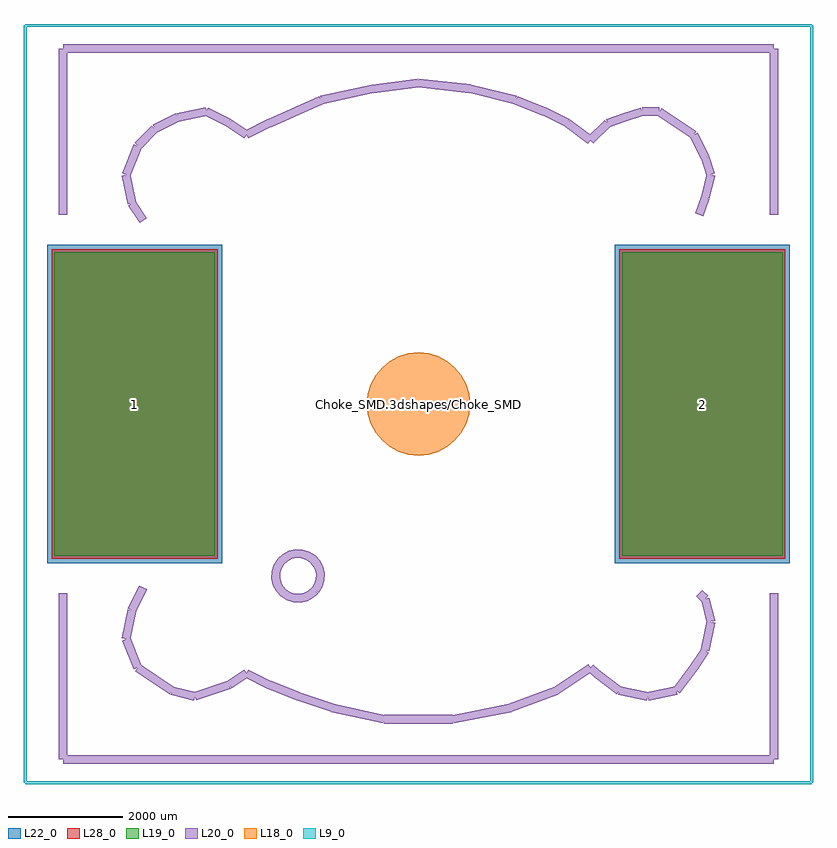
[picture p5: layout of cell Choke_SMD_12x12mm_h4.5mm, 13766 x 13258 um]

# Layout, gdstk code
import gdstk
lib = gdstk.Library(unit=1e-6, precision=1e-09)
def R(c, l, rs):  # rectangles x0, y0, x1, y1
    for r in rs: c.add(gdstk.rectangle(r[:2], r[2:], *l))
def P(c, l, *ps):  # polygons
    for p in ps: c.add(gdstk.Polygon(p, *l))
L9_0 = (9, 0)
L18_0 = (18, 0)
L19_0 = (19, 0)
L20_0 = (20, 0)
L22_0 = (22, 0)
L28_0 = (28, 0)

choke_smd_12x12mm_h4_5mm = lib.new_cell('Choke_SMD_12x12mm_h4.5mm')
P(choke_smd_12x12mm_h4_5mm, L18_0, [(211.934,0),(207.862,41.346),(195.801,81.104),(176.217,117.744),(149.86,149.86),(117.744,176.217),(81.104,195.801),(41.346,207.862),(0,211.934),(-41.346,207.862),(-81.104,195.801),(-117.744,176.217),(-149.86,149.86),(-176.217,117.744),(-195.801,81.104),(-207.862,41.346),(-211.934,0),(-207.862,-41.346),(-195.801,-81.104),(-176.217,-117.744),(-149.86,-149.86),(-117.744,-176.217),(-81.104,-195.801),(-41.346,-207.862),(0,-211.934),(41.346,-207.862),(81.104,-195.801),(117.744,-176.217),(149.86,-149.86),(176.217,-117.744),(195.801,-81.104),(207.862,-41.346)],
  [(551.18,0),(540.589,107.53),(509.224,210.927),(458.289,306.219),(389.743,389.743),(306.219,458.289),(210.927,509.224),(107.53,540.589),(0,551.18),(-107.53,540.589),(-210.927,509.224),(-306.219,458.289),(-389.743,389.743),(-458.289,306.219),(-509.224,210.927),(-540.589,107.53),(-551.18,0),(-540.589,-107.53),(-509.224,-210.927),(-458.289,-306.219),(-389.743,-389.743),(-306.219,-458.289),(-210.927,-509.224),(-107.53,-540.589),(0,-551.18),(107.53,-540.589),(210.927,-509.224),(306.219,-458.289),(389.743,-389.743),(458.289,-306.219),(509.224,-210.927),(540.589,-107.53)],
  [(899.16,0),(881.883,175.417),(830.716,344.094),(747.624,499.547),(635.802,635.802),(499.547,747.624),(344.094,830.716),(175.417,881.883),(0,899.16),(-175.417,881.883),(-344.094,830.716),(-499.547,747.624),(-635.802,635.802),(-747.624,499.547),(-830.716,344.094),(-881.883,175.417),(-899.16,0),(-881.883,-175.417),(-830.716,-344.094),(-747.624,-499.547),(-635.802,-635.802),(-499.547,-747.624),(-344.094,-830.716),(-175.417,-881.883),(0,-899.16),(175.417,-881.883),(344.094,-830.716),(499.547,-747.624),(635.802,-635.802),(747.624,-499.547),(830.716,-344.094),(881.883,-175.417)])
R(choke_smd_12x12mm_h4_5mm, L19_0, [(-6350.8,-2650.02,-3550.12,2650.02), (3550.12,-2650.02,6350.8,2650.02)])
R(choke_smd_12x12mm_h4_5mm, L22_0, [(-6475.8,-2775.02,-3425.12,2775.02), (3425.12,-2775.02,6475.8,2775.02)])
R(choke_smd_12x12mm_h4_5mm, L28_0, [(-6400.8,-2700.02,-3500.12,2700.02), (3500.12,-2700.02,6400.8,2700.02)])
choke_smd_12x12mm_h4_5mm.add(gdstk.FlexPath([(6200.14,6200.14),(6200.14,3299.46)], 149.998, ends="flush", simple_path=True, layer=20, datatype=0))  # L20_0
choke_smd_12x12mm_h4_5mm.add(gdstk.FlexPath([(-6200.14,6200.14),(-6200.14,3299.46)], 149.998, ends="flush", simple_path=True, layer=20, datatype=0))  # L20_0
choke_smd_12x12mm_h4_5mm.add(gdstk.FlexPath([(6200.14,6200.14),(-6200.14,6200.14)], 149.998, ends="flush", simple_path=True, layer=20, datatype=0))  # L20_0
choke_smd_12x12mm_h4_5mm.add(gdstk.FlexPath([(6200.14,-6200.14),(6200.14,-3299.46)], 149.998, ends="flush", simple_path=True, layer=20, datatype=0))  # L20_0
choke_smd_12x12mm_h4_5mm.add(gdstk.FlexPath([(-6200.14,-6200.14),(6200.14,-6200.14)], 149.998, ends="flush", simple_path=True, layer=20, datatype=0))  # L20_0
choke_smd_12x12mm_h4_5mm.add(gdstk.FlexPath([(-6200.14,-3299.46),(-6200.14,-6200.14)], 149.998, ends="flush", simple_path=True, layer=20, datatype=0))  # L20_0
choke_smd_12x12mm_h4_5mm.add(gdstk.FlexPath([(-5001.26,3500.12),(-4800.6,3200.4)], 149.998, ends="flush", simple_path=True, layer=20, datatype=0))  # L20_0
choke_smd_12x12mm_h4_5mm.add(gdstk.FlexPath([(-5100.32,4000.5),(-5001.26,3500.12)], 149.998, ends="flush", simple_path=True, layer=20, datatype=0))  # L20_0
choke_smd_12x12mm_h4_5mm.add(gdstk.FlexPath([(-4899.66,4500.88),(-5100.32,4000.5)], 149.998, ends="flush", simple_path=True, layer=20, datatype=0))  # L20_0
choke_smd_12x12mm_h4_5mm.add(gdstk.FlexPath([(-4599.94,4800.6),(-4899.66,4500.88)], 149.998, ends="flush", simple_path=True, layer=20, datatype=0))  # L20_0
choke_smd_12x12mm_h4_5mm.add(gdstk.FlexPath([(-4201.16,5001.26),(-4599.94,4800.6)], 149.998, ends="flush", simple_path=True, layer=20, datatype=0))  # L20_0
choke_smd_12x12mm_h4_5mm.add(gdstk.FlexPath([(-3700.78,5100.32),(-4201.16,5001.26)], 149.998, ends="flush", simple_path=True, layer=20, datatype=0))  # L20_0
choke_smd_12x12mm_h4_5mm.add(gdstk.FlexPath([(-3299.46,4899.66),(-3700.78,5100.32)], 149.998, ends="flush", simple_path=True, layer=20, datatype=0))  # L20_0
choke_smd_12x12mm_h4_5mm.add(gdstk.FlexPath([(-2999.74,4699),(-3299.46,4899.66)], 149.998, ends="flush", simple_path=True, layer=20, datatype=0))  # L20_0
choke_smd_12x12mm_h4_5mm.add(gdstk.FlexPath([(-2600.96,4899.66),(-2999.74,4699)], 149.998, ends="flush", simple_path=True, layer=20, datatype=0))  # L20_0
choke_smd_12x12mm_h4_5mm.add(gdstk.FlexPath([(-1699.26,5300.98),(-2600.96,4899.66)], 149.998, ends="flush", simple_path=True, layer=20, datatype=0))  # L20_0
choke_smd_12x12mm_h4_5mm.add(gdstk.FlexPath([(-800.1,5499.1),(-1699.26,5300.98)], 149.998, ends="flush", simple_path=True, layer=20, datatype=0))  # L20_0
choke_smd_12x12mm_h4_5mm.add(gdstk.FlexPath([(0,5600.7),(-800.1,5499.1)], 149.998, ends="flush", simple_path=True, layer=20, datatype=0))  # L20_0
choke_smd_12x12mm_h4_5mm.add(gdstk.FlexPath([(899.16,5499.1),(0,5600.7)], 149.998, ends="flush", simple_path=True, layer=20, datatype=0))  # L20_0
choke_smd_12x12mm_h4_5mm.add(gdstk.FlexPath([(1699.26,5300.98),(899.16,5499.1)], 149.998, ends="flush", simple_path=True, layer=20, datatype=0))  # L20_0
choke_smd_12x12mm_h4_5mm.add(gdstk.FlexPath([(2199.64,5100.32),(1699.26,5300.98)], 149.998, ends="flush", simple_path=True, layer=20, datatype=0))  # L20_0
choke_smd_12x12mm_h4_5mm.add(gdstk.FlexPath([(2600.96,4899.66),(2199.64,5100.32)], 149.998, ends="flush", simple_path=True, layer=20, datatype=0))  # L20_0
choke_smd_12x12mm_h4_5mm.add(gdstk.FlexPath([(2999.74,4599.94),(2600.96,4899.66)], 149.998, ends="flush", simple_path=True, layer=20, datatype=0))  # L20_0
choke_smd_12x12mm_h4_5mm.add(gdstk.FlexPath([(3299.46,4899.66),(2999.74,4599.94)], 149.998, ends="flush", simple_path=True, layer=20, datatype=0))  # L20_0
choke_smd_12x12mm_h4_5mm.add(gdstk.FlexPath([(3599.18,5001.26),(3299.46,4899.66)], 149.998, ends="flush", simple_path=True, layer=20, datatype=0))  # L20_0
choke_smd_12x12mm_h4_5mm.add(gdstk.FlexPath([(3898.9,5100.32),(3599.18,5001.26)], 149.998, ends="flush", simple_path=True, layer=20, datatype=0))  # L20_0
choke_smd_12x12mm_h4_5mm.add(gdstk.FlexPath([(4201.16,5100.32),(3898.9,5100.32)], 149.998, ends="flush", simple_path=True, layer=20, datatype=0))  # L20_0
choke_smd_12x12mm_h4_5mm.add(gdstk.FlexPath([(4500.88,4899.66),(4201.16,5100.32)], 149.998, ends="flush", simple_path=True, layer=20, datatype=0))  # L20_0
choke_smd_12x12mm_h4_5mm.add(gdstk.FlexPath([(4800.6,4699),(4500.88,4899.66)], 149.998, ends="flush", simple_path=True, layer=20, datatype=0))  # L20_0
choke_smd_12x12mm_h4_5mm.add(gdstk.FlexPath([(5001.26,4300.22),(4800.6,4699)], 149.998, ends="flush", simple_path=True, layer=20, datatype=0))  # L20_0
choke_smd_12x12mm_h4_5mm.add(gdstk.FlexPath([(5100.32,4000.5),(5001.26,4300.22)], 149.998, ends="flush", simple_path=True, layer=20, datatype=0))  # L20_0
choke_smd_12x12mm_h4_5mm.add(gdstk.FlexPath([(5001.26,3599.18),(5100.32,4000.5)], 149.998, ends="flush", simple_path=True, layer=20, datatype=0))  # L20_0
choke_smd_12x12mm_h4_5mm.add(gdstk.FlexPath([(4899.66,3299.46),(5001.26,3599.18)], 149.998, ends="flush", simple_path=True, layer=20, datatype=0))  # L20_0
choke_smd_12x12mm_h4_5mm.add(gdstk.FlexPath([(-5001.26,-3599.18),(-4800.6,-3200.4)], 149.998, ends="flush", simple_path=True, layer=20, datatype=0))  # L20_0
choke_smd_12x12mm_h4_5mm.add(gdstk.FlexPath([(-5100.32,-4099.56),(-5001.26,-3599.18)], 149.998, ends="flush", simple_path=True, layer=20, datatype=0))  # L20_0
choke_smd_12x12mm_h4_5mm.add(gdstk.FlexPath([(-4899.66,-4599.94),(-5100.32,-4099.56)], 149.998, ends="flush", simple_path=True, layer=20, datatype=0))  # L20_0
choke_smd_12x12mm_h4_5mm.add(gdstk.FlexPath([(-4599.94,-4800.6),(-4899.66,-4599.94)], 149.998, ends="flush", simple_path=True, layer=20, datatype=0))  # L20_0
choke_smd_12x12mm_h4_5mm.add(gdstk.FlexPath([(-4300.22,-5001.26),(-4599.94,-4800.6)], 149.998, ends="flush", simple_path=True, layer=20, datatype=0))  # L20_0
choke_smd_12x12mm_h4_5mm.add(gdstk.FlexPath([(-3898.9,-5100.32),(-4300.22,-5001.26)], 149.998, ends="flush", simple_path=True, layer=20, datatype=0))  # L20_0
choke_smd_12x12mm_h4_5mm.add(gdstk.FlexPath([(-3299.46,-4899.66),(-3898.9,-5100.32)], 149.998, ends="flush", simple_path=True, layer=20, datatype=0))  # L20_0
choke_smd_12x12mm_h4_5mm.add(gdstk.FlexPath([(-2999.74,-4699),(-3299.46,-4899.66)], 149.998, ends="flush", simple_path=True, layer=20, datatype=0))  # L20_0
choke_smd_12x12mm_h4_5mm.add(gdstk.FlexPath([(-2600.96,-4899.66),(-2999.74,-4699)], 149.998, ends="flush", simple_path=True, layer=20, datatype=0))  # L20_0
choke_smd_12x12mm_h4_5mm.add(gdstk.FlexPath([(-2100.58,-5100.32),(-2600.96,-4899.66)], 149.998, ends="flush", simple_path=True, layer=20, datatype=0))  # L20_0
choke_smd_12x12mm_h4_5mm.add(gdstk.FlexPath([(-1501.14,-5300.98),(-2100.58,-5100.32)], 149.998, ends="flush", simple_path=True, layer=20, datatype=0))  # L20_0
choke_smd_12x12mm_h4_5mm.add(gdstk.FlexPath([(-599.44,-5499.1),(-1501.14,-5300.98)], 149.998, ends="flush", simple_path=True, layer=20, datatype=0))  # L20_0
choke_smd_12x12mm_h4_5mm.add(gdstk.FlexPath([(599.44,-5499.1),(-599.44,-5499.1)], 149.998, ends="flush", simple_path=True, layer=20, datatype=0))  # L20_0
choke_smd_12x12mm_h4_5mm.add(gdstk.FlexPath([(1600.2,-5300.98),(599.44,-5499.1)], 149.998, ends="flush", simple_path=True, layer=20, datatype=0))  # L20_0
choke_smd_12x12mm_h4_5mm.add(gdstk.FlexPath([(2400.3,-5001.26),(1600.2,-5300.98)], 149.998, ends="flush", simple_path=True, layer=20, datatype=0))  # L20_0
choke_smd_12x12mm_h4_5mm.add(gdstk.FlexPath([(2999.74,-4599.94),(2400.3,-5001.26)], 149.998, ends="flush", simple_path=True, layer=20, datatype=0))  # L20_0
choke_smd_12x12mm_h4_5mm.add(gdstk.FlexPath([(3098.8,-4699),(2999.74,-4599.94)], 149.998, ends="flush", simple_path=True, layer=20, datatype=0))  # L20_0
choke_smd_12x12mm_h4_5mm.add(gdstk.FlexPath([(3500.12,-5001.26),(3098.8,-4699)], 149.998, ends="flush", simple_path=True, layer=20, datatype=0))  # L20_0
choke_smd_12x12mm_h4_5mm.add(gdstk.FlexPath([(4000.5,-5100.32),(3500.12,-5001.26)], 149.998, ends="flush", simple_path=True, layer=20, datatype=0))  # L20_0
choke_smd_12x12mm_h4_5mm.add(gdstk.FlexPath([(4500.88,-5001.26),(4000.5,-5100.32)], 149.998, ends="flush", simple_path=True, layer=20, datatype=0))  # L20_0
choke_smd_12x12mm_h4_5mm.add(gdstk.FlexPath([(4800.6,-4599.94),(4500.88,-5001.26)], 149.998, ends="flush", simple_path=True, layer=20, datatype=0))  # L20_0
choke_smd_12x12mm_h4_5mm.add(gdstk.FlexPath([(5001.26,-4300.22),(4800.6,-4599.94)], 149.998, ends="flush", simple_path=True, layer=20, datatype=0))  # L20_0
choke_smd_12x12mm_h4_5mm.add(gdstk.FlexPath([(5100.32,-3799.84),(5001.26,-4300.22)], 149.998, ends="flush", simple_path=True, layer=20, datatype=0))  # L20_0
choke_smd_12x12mm_h4_5mm.add(gdstk.FlexPath([(5001.26,-3401.06),(5100.32,-3799.84)], 149.998, ends="flush", simple_path=True, layer=20, datatype=0))  # L20_0
choke_smd_12x12mm_h4_5mm.add(gdstk.FlexPath([(4899.66,-3299.46),(5001.26,-3401.06)], 149.998, ends="flush", simple_path=True, layer=20, datatype=0))  # L20_0
choke_smd_12x12mm_h4_5mm.add(gdstk.FlexPath([(-1800.86,-3251.2),(-1745.99,-3165.058),(-1715.285,-3067.651),(-1710.837,-2965.615),(-1732.949,-2865.905),(-1780.115,-2775.315),(-1849.12,-2700.02),(-1935.262,-2645.15),(-2032.669,-2614.445),(-2134.705,-2609.997),(-2234.415,-2632.109),(-2325.005,-2679.275),(-2400.3,-2748.28),(-2455.17,-2834.422),(-2485.875,-2931.829),(-2490.323,-3033.865),(-2468.211,-3133.575),(-2421.045,-3224.165),(-2352.04,-3299.46),(-2265.898,-3354.33),(-2168.491,-3385.035),(-2066.455,-3389.483),(-1966.745,-3367.371),(-1876.155,-3320.205),(-1800.86,-3251.2)], 149.998, ends="flush", simple_path=True, layer=20, datatype=0))  # L20_0
choke_smd_12x12mm_h4_5mm.add(gdstk.FlexPath([(-6858,-6604),(-6858,6604)], 50, ends="flush", simple_path=True, layer=9, datatype=0))  # L9_0
choke_smd_12x12mm_h4_5mm.add(gdstk.FlexPath([(6858,-6604),(-6858,-6604)], 50, ends="flush", simple_path=True, layer=9, datatype=0))  # L9_0
choke_smd_12x12mm_h4_5mm.add(gdstk.FlexPath([(6858,6604),(6858,-6604)], 50, ends="flush", simple_path=True, layer=9, datatype=0))  # L9_0
choke_smd_12x12mm_h4_5mm.add(gdstk.FlexPath([(-6858,6604),(6858,6604)], 50, ends="flush", simple_path=True, layer=9, datatype=0))  # L9_0
choke_smd_12x12mm_h4_5mm.add(gdstk.Label('Choke_SMD.3dshapes/Choke_SMD_12x12mm_h4.5mm.wrl', (0,0), layer=12, texttype=0))
choke_smd_12x12mm_h4_5mm.add(gdstk.Label('2', (4950.46,0), layer=28, texttype=0))
choke_smd_12x12mm_h4_5mm.add(gdstk.Label('1', (-4950.46,0), layer=28, texttype=0))
choke_smd_12x12mm_h4_5mm.add(gdstk.Label('type', (0,-8890), layer=9, texttype=0))
choke_smd_12x12mm_h4_5mm.add(gdstk.Label('devicename', (0,8890), layer=9, texttype=0))

lib.write_gds('Choke_SMD_12x12mm_h4.5mm.gds')
